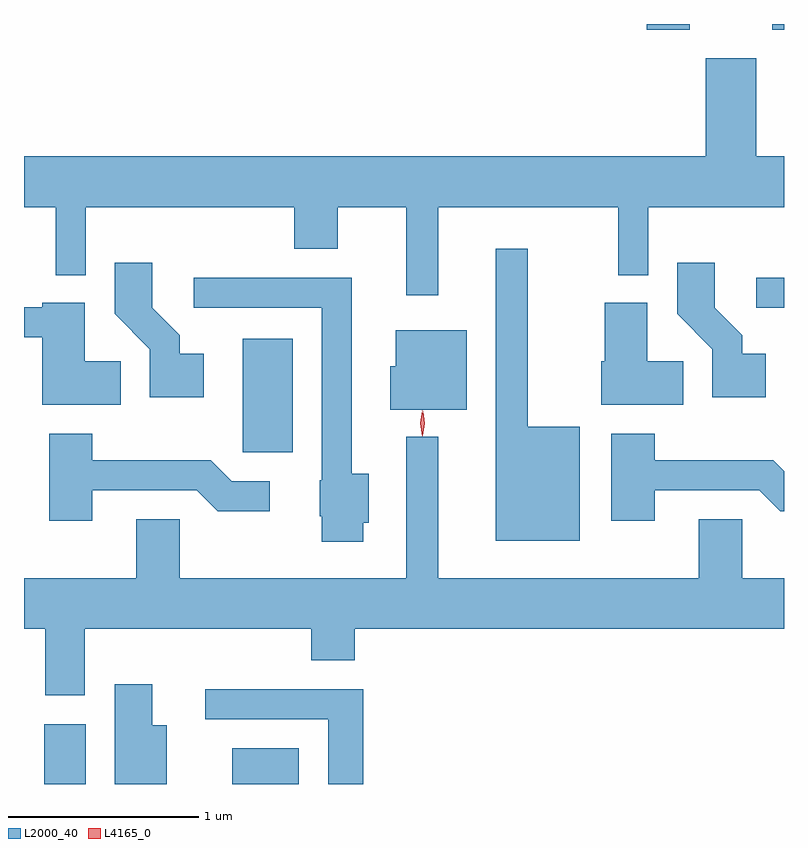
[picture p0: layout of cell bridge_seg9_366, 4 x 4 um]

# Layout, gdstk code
import gdstk
lib = gdstk.Library(unit=1e-6, precision=1e-09)
def R(c, l, rs):  # rectangles x0, y0, x1, y1
    for r in rs: c.add(gdstk.rectangle(r[:2], r[2:], *l))
def P(c, l, *ps):  # polygons
    for p in ps: c.add(gdstk.Polygon(p, *l))
L2000_40 = (2000, 40)
L4165_0 = (4165, 0)

bridge_seg9_366 = lib.new_cell('bridge_seg9_366')
R(bridge_seg9_366, L2000_40, [(1015.236,1975.46,1015.454,1975.774), (1016.226,1975.46,1016.574,1975.649), (1016.281,1977.206,1016.544,1977.804), (1018.983,1977.966,1019.129,1978.124), (1018.406,1979.431,1018.634,1979.46), (1019.066,1979.431,1019.129,1979.46)])
P(bridge_seg9_366, L2000_40, [(1017.309,1978.496),(1018.256,1978.496),(1018.256,1978.138),(1018.414,1978.138),(1018.414,1978.496),(1019.129,1978.496),(1019.129,1978.764),(1018.984,1978.764),(1018.984,1979.279),(1018.716,1979.279),(1018.716,1978.764),(1015.129,1978.764),(1015.129,1978.496),(1015.296,1978.496),(1015.296,1978.138),(1015.454,1978.138),(1015.454,1978.496),(1016.551,1978.496),(1016.551,1978.276),(1016.779,1978.276),(1016.779,1978.496),(1017.141,1978.496),(1017.141,1978.033),(1017.309,1978.033)],
  [(1018.054,1977.339),(1017.779,1977.339),(1017.779,1978.278),(1017.611,1978.278),(1017.611,1976.741),(1018.054,1976.741)],
  [(1016.074,1977.724),(1015.949,1977.724),(1015.949,1977.822),(1015.804,1977.967),(1015.804,1978.204),(1015.606,1978.204),(1015.606,1977.934),(1015.791,1977.749),(1015.791,1977.496),(1016.074,1977.496)],
  [(1019.034,1977.724),(1018.909,1977.724),(1018.909,1977.822),(1018.764,1977.967),(1018.764,1978.204),(1018.566,1978.204),(1018.566,1977.934),(1018.751,1977.749),(1018.751,1977.496),(1019.034,1977.496)],
  [(1016.914,1976.836),(1016.944,1976.836),(1016.944,1977.094),(1016.854,1977.094),(1016.854,1978.124),(1016.023,1978.124),(1016.023,1977.966),(1016.696,1977.966),(1016.696,1977.06),(1016.686,1977.06),(1016.686,1976.87),(1016.696,1976.87),(1016.696,1976.736),(1016.914,1976.736)],
  [(1018.599,1977.684),(1018.409,1977.684),(1018.409,1977.994),(1018.186,1977.994),(1018.186,1977.684),(1018.166,1977.684),(1018.166,1977.456),(1018.599,1977.456)],
  [(1015.639,1977.684),(1015.449,1977.684),(1015.449,1977.994),(1015.226,1977.994),(1015.226,1977.969),(1015.129,1977.969),(1015.129,1977.811),(1015.226,1977.811),(1015.226,1977.456),(1015.639,1977.456)],
  [(1017.459,1977.849),(1017.086,1977.849),(1017.086,1977.659),(1017.056,1977.659),(1017.056,1977.431),(1017.459,1977.431)],
  [(1015.489,1977.006),(1016.039,1977.006),(1016.149,1976.896),(1016.423,1976.896),(1016.423,1977.054),(1016.222,1977.054),(1016.112,1977.164),(1015.489,1977.164),(1015.489,1977.304),(1015.261,1977.304),(1015.261,1976.846),(1015.489,1976.846)],
  [(1018.449,1977.006),(1018.999,1977.006),(1019.109,1976.896),(1019.129,1976.896),(1019.129,1977.107),(1019.072,1977.164),(1018.449,1977.164),(1018.449,1977.304),(1018.221,1977.304),(1018.221,1976.846),(1018.449,1976.846)],
  [(1018.681,1976.854),(1018.681,1976.544),(1017.309,1976.544),(1017.309,1977.288),(1017.141,1977.288),(1017.141,1976.544),(1015.949,1976.544),(1015.949,1976.854),(1015.721,1976.854),(1015.721,1976.544),(1015.129,1976.544),(1015.129,1976.276),(1015.241,1976.276),(1015.241,1975.926),(1015.449,1975.926),(1015.449,1976.276),(1016.641,1976.276),(1016.641,1976.111),(1016.869,1976.111),(1016.869,1976.276),(1019.129,1976.276),(1019.129,1976.544),(1018.909,1976.544),(1018.909,1976.854)],
  [(1015.879,1975.769),(1015.804,1975.769),(1015.804,1975.984),(1015.606,1975.984),(1015.606,1975.46),(1015.879,1975.46)],
  [(1016.914,1975.959),(1016.083,1975.959),(1016.083,1975.801),(1016.731,1975.801),(1016.731,1975.46),(1016.914,1975.46)])
P(bridge_seg9_366, L4165_0, [(1017.224,1977.289),(1017.224,1977.29),(1017.214,1977.358),(1017.224,1977.425),(1017.224,1977.426),(1017.224,1977.425),(1017.234,1977.358),(1017.224,1977.29)],
  [(1017.228,1977.293),(1017.228,1977.293),(1017.219,1977.357),(1017.23,1977.421),(1017.23,1977.421),(1017.231,1977.421),(1017.239,1977.357),(1017.228,1977.293)])

lib.write_gds('bridge_seg9_366.gds')
